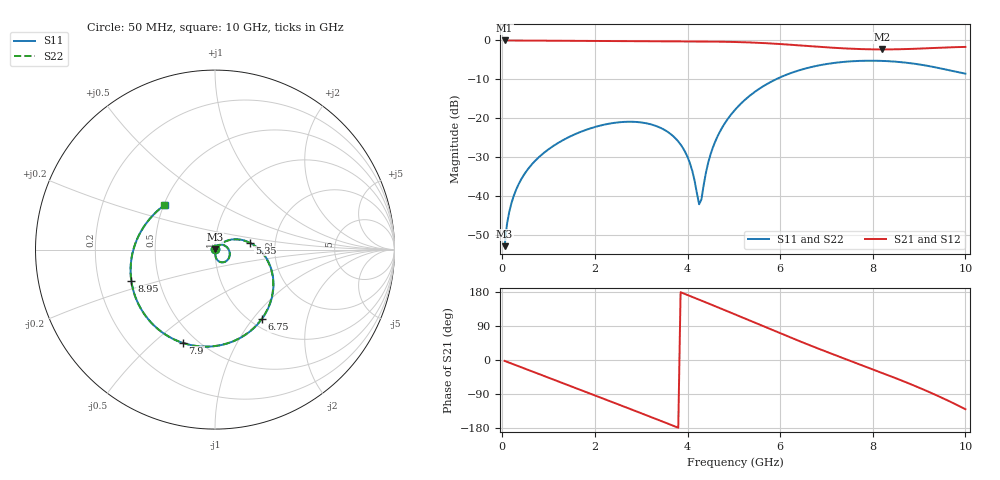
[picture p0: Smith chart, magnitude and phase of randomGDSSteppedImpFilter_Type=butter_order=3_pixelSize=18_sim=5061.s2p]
! freq	dB(S11)	phase(S11)	dB(S12)	phase(S12)
!  dB(S21)	phase(S21)	dB(S22)	phase(S22)
!S-par simulation data
#  GHz  S  DB  R 50
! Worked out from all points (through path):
!   200 points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, 50 MHz to 10 GHz, reference 50 ohm
!   highest |S21| = 0.00 dB at 50 MHz (marker M1); lowest = -2.3 dB at 8.2 GHz (marker M2)
!   group delay of S21, straight-line fit = 135 ps
!   lowest |S11| = -52.8 dB at 50 MHz (marker M3), VSWR 1.00, Z = 50 + j0.228 ohm
!   |S11| at or under -10 dB: start of sweep to 5.904 GHz
!   |S22| runs from -52.7 to -5.2 dB; largest |S21 - S12| = 0
!   S11 on the Smith chart (normalised r, x): 50 MHz: 1.00, +0.00; 5.35 GHz: 1.47, +0.12; 6.75 GHz: 1.12, -1.11; 7.9 GHz: 0.42, -0.63; 8.95 GHz: 0.35, -0.16; 10 GHz: 0.50, +0.29
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0.05  -52.76 81.6  -0.00 -2.4  -0.00 -2.4  -52.73 81.4
0.2  -41.63 76.6  -0.02 -9.4  -0.02 -9.4  -41.63 76.5
0.5  -33.88 65.4  -0.03 -23.4  -0.03 -23.4  -33.88 65.3
1.15  -26.69 36.9  -0.07 -53.7  -0.07 -53.7  -26.69 36.7
1.75  -23.18 9.5  -0.11 -81.7  -0.11 -81.7  -23.18 9.3
2.5  -21.01 -24.9  -0.17 -116.9  -0.17 -116.9  -21.01 -25.2
3.4  -22.32 -65.6  -0.23 -159.5  -0.23 -159.5  -22.32 -65.9
3.95  -28.63 -85.4  -0.25 174.0  -0.25 174.0  -28.62 -85.4
4.1  -33.33 -83.7  -0.26 166.6  -0.26 166.6  -33.31 -83.4
4.25  -42.01 -34.1  -0.27 159.3  -0.27 159.3  -41.76 -33.9
4.55  -27.37 43.4  -0.30 144.3  -0.30 144.3  -27.35 42.6
5.05  -17.46 25.5  -0.40 119.1  -0.40 119.1  -17.46 25.0
5.35  -14.12 11.5  -0.52 103.7  -0.52 103.7  -14.12 11.0
5.95  -9.74 -17.7  -0.88 73.1  -0.88 73.1  -9.74 -18.1
6.7  -6.74 -53.8  -1.51 36.0  -1.51 36.0  -6.74 -54.2
6.75  -6.61 -56.2  -1.56 33.6  -1.56 33.6  -6.61 -56.5
7.9  -5.20 -108.9  -2.26 -20.0  -2.26 -20.0  -5.19 -109.2
8.2  -5.24 -122.7  -2.30 -33.9  -2.30 -33.9  -5.24 -123.0
8.35  -5.33 -129.7  -2.30 -41.0  -2.30 -41.0  -5.33 -130.0
8.95  -6.06 -159.3  -2.12 -70.4  -2.12 -70.4  -6.05 -159.4
9.5  -7.26 170.3  -1.84 -100.0  -1.84 -100.0  -7.26 170.3
10  -8.51 138.5  -1.66 -129.8  -1.66 -129.8  -8.51 138.9
